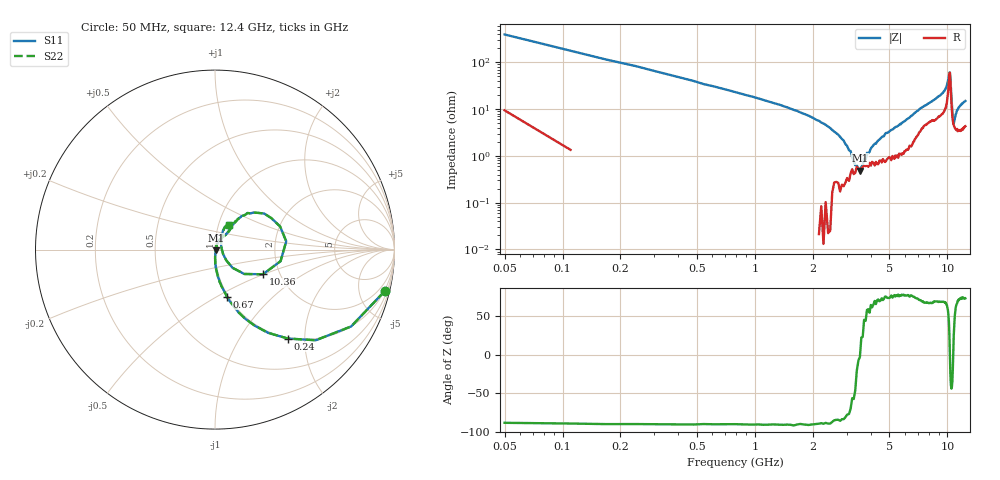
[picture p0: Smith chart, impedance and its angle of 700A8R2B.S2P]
!  American Technical Ceramics  Date:  3/13/98
!  One Norden Lane
!  Huntington Station,  NY.  11746-2102
!  Tel:  (516) 547-5700  Fax:  (516) 547-5748
!  Part Number  700A8R2B
!  Description: Porcelain, High Q, Low ESR
!  Application: Bypass, Coupling, Timing, Feedback
!  Tuning, Impedance Match, Blocking
# GHZ S DB R 50
! Freq  |S11|  S11 Ph  |S21|  S21 Ph  |S12|  S12 Ph  |S22|  S22 Ph
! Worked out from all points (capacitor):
!   201 points, 50 MHz to 12.4 GHz, reference 50 ohm
!   read as one part in series: C = 8.2 pF near 110 MHz
!   lowest |Z| = 487 mohm at 3.51 GHz (marker M1)
!   series resonance near 3.516 GHz, so ESL is about 250 pH
!   S11 on the Smith chart (normalised r, x): 50 MHz: 0.94, -8.13; 240 MHz: 0.99, -1.66; 670 MHz: 0.99, -0.56; 10.36 GHz: 1.64, -0.49; 12.4 GHz: 1.12, +0.32
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0.05  -0.24 -13.8  -12.13 74.7  -12.13 74.7  -0.24 -13.8
0.11  -1.20 -29.4  -6.13 60.0  -6.13 60.0  -1.20 -29.4
0.24  -3.87 -50.7  -2.28 39.6  -2.28 39.6  -3.87 -50.7
0.42  -7.52 -66.4  -0.82 24.6  -0.82 24.6  -7.52 -66.4
0.67  -11.39 -75.9  -0.35 15.4  -0.35 15.4  -11.39 -75.9
2.15  -24.47 -89.3  -0.04 3.0  -0.04 3.0  -24.47 -89.3
2.95  -33.41 -83.6  -0.03 0.8  -0.03 0.8  -33.41 -83.6
3.51  -43.08 -43.8  -0.04 -0.2  -0.04 -0.2  -43.08 -43.8
3.76  -43.99 -3.8  -0.05 -0.7  -0.05 -0.7  -43.99 -3.8
4.19  -40.03 46.0  -0.05 -1.5  -0.05 -1.5  -40.03 46.0
6.23  -27.08 67.5  -0.12 -4.5  -0.12 -4.5  -27.08 67.5
7.21  -20.92 56.9  -0.23 -6.1  -0.23 -6.1  -20.92 56.9
8.32  -16.70 53.7  -0.40 -7.3  -0.40 -7.3  -16.70 53.7
9.62  -12.39 51.3  -0.63 -11.0  -0.63 -11.0  -12.39 51.3
10.05  -9.38 36.2  -1.47 -16.1  -1.47 -16.1  -9.38 36.2
10.24  -7.97 6.6  -3.60 -13.6  -3.60 -13.6  -7.97 6.6
10.36  -10.45 -27.2  -3.51 5.0  -3.51 5.0  -10.45 -27.2
10.49  -17.04 -46.1  -1.54 6.9  -1.54 6.9  -17.04 -46.1
10.67  -28.49 6.0  -0.64 2.4  -0.64 2.4  -28.49 6.0
10.92  -22.32 62.3  -0.40 -1.3  -0.40 -1.3  -22.32 62.3
11.23  -18.94 66.7  -0.35 -3.4  -0.35 -3.4  -18.94 66.7
12.4  -15.95 61.0  -0.29 -7.1  -0.29 -7.1  -15.95 61.0
